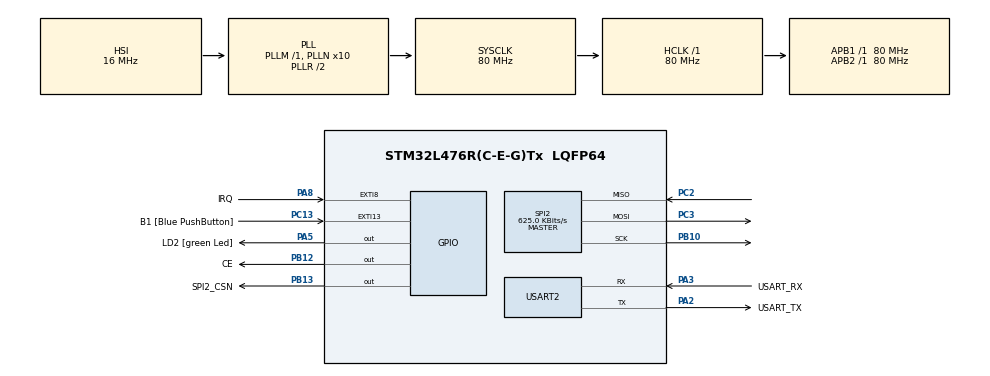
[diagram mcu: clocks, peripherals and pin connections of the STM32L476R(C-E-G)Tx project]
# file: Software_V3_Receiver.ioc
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Mcu.Family=STM32L4
Mcu.Name=STM32L476R(C-E-G)Tx
Mcu.Package=LQFP64
NVIC.EXTI9_5_IRQn=true\:0\:0\:false\:false\:true\:true\:true\:true
NVIC.PriorityGroup=NVIC_PRIORITYGROUP_4
PA13\ (JTMS-SWDIO).GPIO_Label=TMS
PA13\ (JTMS-SWDIO).Mode=Serial_Wire
PA13\ (JTMS-SWDIO).Signal=SYS_JTMS-SWDIO
PA14\ (JTCK-SWCLK).GPIO_Label=TCK
PA14\ (JTCK-SWCLK).Mode=Serial_Wire
PA14\ (JTCK-SWCLK).Signal=SYS_JTCK-SWCLK
PA2.GPIO_Label=USART_TX
PA2.GPIO_Mode=GPIO_MODE_AF_PP
PA2.GPIO_PuPd=GPIO_NOPULL
PA2.GPIO_Speed=GPIO_SPEED_FREQ_VERY_HIGH
PA2.Mode=Asynchronous
PA2.Signal=USART2_TX
PA3.GPIO_Label=USART_RX
PA3.GPIO_Mode=GPIO_MODE_AF_PP
PA3.GPIO_PuPd=GPIO_NOPULL
PA3.GPIO_Speed=GPIO_SPEED_FREQ_VERY_HIGH
PA3.Mode=Asynchronous
PA3.Signal=USART2_RX
PA5.GPIO_Label=LD2 [green Led]
PA5.GPIO_ModeDefaultOutputPP=GPIO_MODE_OUTPUT_PP
PA5.GPIO_PuPd=GPIO_NOPULL
PA5.GPIO_Speed=GPIO_SPEED_FREQ_LOW
PA5.Signal=GPIO_Output
PA8.GPIO_Label=IRQ
PA8.GPIO_ModeDefaultEXTI=GPIO_MODE_IT_FALLING
PA8.Signal=GPXTI8
PB10.Mode=Full_Duplex_Master
PB10.Signal=SPI2_SCK
PB12.GPIO_Label=CE
PB12.GPIO_Speed=GPIO_SPEED_FREQ_HIGH
PB12.Signal=GPIO_Output
PB13.GPIO_Label=SPI2_CSN
PB13.GPIO_Speed=GPIO_SPEED_FREQ_HIGH
PB13.PinState=GPIO_PIN_SET
PB13.Signal=GPIO_Output
PB3\ (JTDO-TRACESWO).GPIO_Label=SWO
PB3\ (JTDO-TRACESWO).Signal=SYS_JTDO-SWO
PC13.GPIO_Label=B1 [Blue PushButton]
PC13.GPIO_ModeDefaultEXTI=GPIO_MODE_IT_FALLING
PC13.GPIO_PuPd=GPIO_NOPULL
PC13.Signal=GPXTI13
PC14-OSC32_IN\ (PC14).Mode=LSE-External-Oscillator
PC14-OSC32_IN\ (PC14).Signal=RCC_OSC32_IN
PC15-OSC32_OUT\ (PC15).Mode=LSE-External-Oscillator
PC15-OSC32_OUT\ (PC15).Signal=RCC_OSC32_OUT
PC2.Mode=Full_Duplex_Master
PC2.Signal=SPI2_MISO
PC3.Mode=Full_Duplex_Master
PC3.Signal=SPI2_MOSI
PH0-OSC_IN\ (PH0).Signal=RCC_OSC_IN
PH1-OSC_OUT\ (PH1).Signal=RCC_OSC_OUT
ProjectManager.HeapSize=0x200
ProjectManager.StackSize=0x400
ProjectManager.TargetToolchain=STM32CubeIDE
RCC.ADCFreq_Value=64000000
RCC.AHBFreq_Value=80000000
RCC.APB1Freq_Value=80000000
RCC.APB1TimFreq_Value=80000000
RCC.APB2Freq_Value=80000000
RCC.APB2TimFreq_Value=80000000
RCC.CortexFreq_Value=80000000
RCC.HCLKFreq_Value=80000000
RCC.HSE_VALUE=8000000
RCC.HSI_VALUE=16000000
RCC.MSI_VALUE=4000000
RCC.PLLN=10
RCC.PLLSourceVirtual=RCC_PLLSOURCE_HSI
RCC.PREFETCH_ENABLE=1
RCC.SYSCLKFreq_VALUE=80000000
RCC.SYSCLKSource=RCC_SYSCLKSOURCE_PLLCLK
RCC.USBFreq_Value=64000000
RCC.VCOOutputFreq_Value=160000000
SPI2.BaudRatePrescaler=SPI_BAUDRATEPRESCALER_128
SPI2.CalculateBaudRate=625.0 KBits/s
SPI2.DataSize=SPI_DATASIZE_8BIT
SPI2.Direction=SPI_DIRECTION_2LINES
SPI2.Mode=SPI_MODE_MASTER
SPI2.VirtualType=VM_MASTER
USART2.VirtualMode-Asynchronous=VM_ASYNC
board=NUCLEO-L476RG

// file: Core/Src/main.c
/* USER CODE BEGIN Header */
/**
  ******************************************************************************
  * @file           : main.c
  * @brief          : Main program body
  ******************************************************************************
  * @attention
  *
  * Copyright (c) 2025 STMicroelectronics.
  * All rights reserved.
  *
  * This software is licensed under terms that can be found in the LICENSE file
  * in the root directory of this software component.
  * If no LICENSE file comes with this software, it is provided AS-IS.
  *
  ******************************************************************************
  */
/* USER CODE END Header */
#include "main.h"

/* USER CODE BEGIN Includes */
#include "nrf24l01p.h"
/* USER CODE END Includes */

/* USER CODE BEGIN PD */

//#define TRANSMITTER
#define RECEIVER

/* USER CODE END PD */

SPI_HandleTypeDef hspi2;

UART_HandleTypeDef huart2;

/* USER CODE BEGIN PV */

uint8_t rx_data[NRF24L01P_PAYLOAD_LENGTH] = {0};
uint8_t tx_data[NRF24L01P_PAYLOAD_LENGTH] = {0, 1, 2, 3, 4, 5, 6, 7};

/* USER CODE END PV */

void SystemClock_Config(void);
static void MX_GPIO_Init(void);
static void MX_USART2_UART_Init(void);
static void MX_SPI2_Init(void);
/* USER CODE BEGIN PFP */

void HAL_GPIO_EXTI_Callback(uint16_t GPIO_Pin);

/* USER CODE END PFP */

int main(void)
{

  /* MCU Configuration--------------------------------------------------------*/

  /* Reset of all peripherals, Initializes the Flash interface and the Systick. */
  HAL_Init();

  /* Configure the system clock */
  SystemClock_Config();

  /* Initialize all configured peripherals */
  MX_GPIO_Init();
  MX_USART2_UART_Init();
  MX_SPI2_Init();
  /* USER CODE BEGIN 2 */
#ifdef RECEIVER
  	nrf24l01p_rx_init(2500, _1Mbps);
#endif

 #ifdef TRANSMITTER
	nrf24l01p_tx_init(2500, _1Mbps);
 #endif
  /* USER CODE END 2 */

  /* Infinite loop */
  while (1)
  {

    /* USER CODE BEGIN 3 */

#ifdef RECEIVER
	  // Nothing to do
#endif

#ifdef TRANSMITTER

	  for(int i= 0; i < 8; i++)
	  {
		  tx_data[i]++;
	  }

	  nrf24l01p_tx_transmit(tx_data);
#endif

	  HAL_Delay(100);

  }
  /* USER CODE END 3 */
}

void SystemClock_Config(void)
{
  RCC_OscInitTypeDef RCC_OscInitStruct = {0};
  RCC_ClkInitTypeDef RCC_ClkInitStruct = {0};

  /** Configure the main internal regulator output voltage
  */
  if (HAL_PWREx_ControlVoltageScaling(PWR_REGULATOR_VOLTAGE_SCALE1) != HAL_OK)
  {
    Error_Handler();
  }

  /** Initializes the RCC Oscillators according to the specified parameters
  * in the RCC_OscInitTypeDef structure.
  */
  RCC_OscInitStruct.OscillatorType = RCC_OSCILLATORTYPE_HSI;
  RCC_OscInitStruct.HSIState = RCC_HSI_ON;
  RCC_OscInitStruct.HSICalibrationValue = RCC_HSICALIBRATION_DEFAULT;
  RCC_OscInitStruct.PLL.PLLState = RCC_PLL_ON;
  RCC_OscInitStruct.PLL.PLLSource = RCC_PLLSOURCE_HSI;
  RCC_OscInitStruct.PLL.PLLM = 1;
  RCC_OscInitStruct.PLL.PLLN = 10;
  RCC_OscInitStruct.PLL.PLLP = RCC_PLLP_DIV7;
  RCC_OscInitStruct.PLL.PLLQ = RCC_PLLQ_DIV2;
  RCC_OscInitStruct.PLL.PLLR = RCC_PLLR_DIV2;
  if (HAL_RCC_OscConfig(&RCC_OscInitStruct) != HAL_OK)
  {
    Error_Handler();
  }

  /** Initializes the CPU, AHB and APB buses clocks
  */
  RCC_ClkInitStruct.ClockType = RCC_CLOCKTYPE_HCLK|RCC_CLOCKTYPE_SYSCLK
                              |RCC_CLOCKTYPE_PCLK1|RCC_CLOCKTYPE_PCLK2;
  RCC_ClkInitStruct.SYSCLKSource = RCC_SYSCLKSOURCE_PLLCLK;
  RCC_ClkInitStruct.AHBCLKDivider = RCC_SYSCLK_DIV1;
  RCC_ClkInitStruct.APB1CLKDivider = RCC_HCLK_DIV1;
  RCC_ClkInitStruct.APB2CLKDivider = RCC_HCLK_DIV1;

  if (HAL_RCC_ClockConfig(&RCC_ClkInitStruct, FLASH_LATENCY_4) != HAL_OK)
  {
    Error_Handler();
  }
}

static void MX_SPI2_Init(void)
{

  /* SPI2 parameter configuration*/
  hspi2.Instance = SPI2;
  hspi2.Init.Mode = SPI_MODE_MASTER;
  hspi2.Init.Direction = SPI_DIRECTION_2LINES;
  hspi2.Init.DataSize = SPI_DATASIZE_8BIT;
  hspi2.Init.CLKPolarity = SPI_POLARITY_LOW;
  hspi2.Init.CLKPhase = SPI_PHASE_1EDGE;
  hspi2.Init.NSS = SPI_NSS_SOFT;
  hspi2.Init.BaudRatePrescaler = SPI_BAUDRATEPRESCALER_128;
  hspi2.Init.FirstBit = SPI_FIRSTBIT_MSB;
  hspi2.Init.TIMode = SPI_TIMODE_DISABLE;
  hspi2.Init.CRCCalculation = SPI_CRCCALCULATION_DISABLE;
  hspi2.Init.CRCPolynomial = 7;
  hspi2.Init.CRCLength = SPI_CRC_LENGTH_DATASIZE;
  hspi2.Init.NSSPMode = SPI_NSS_PULSE_ENABLE;
  if (HAL_SPI_Init(&hspi2) != HAL_OK)
  {
    Error_Handler();
  }

}

static void MX_USART2_UART_Init(void)
{

  huart2.Instance = USART2;
  huart2.Init.BaudRate = 115200;
  huart2.Init.WordLength = UART_WORDLENGTH_8B;
  huart2.Init.StopBits = UART_STOPBITS_1;
  huart2.Init.Parity = UART_PARITY_NONE;
  huart2.Init.Mode = UART_MODE_TX_RX;
  huart2.Init.HwFlowCtl = UART_HWCONTROL_NONE;
  huart2.Init.OverSampling = UART_OVERSAMPLING_16;
  huart2.Init.OneBitSampling = UART_ONE_BIT_SAMPLE_DISABLE;
  huart2.AdvancedInit.AdvFeatureInit = UART_ADVFEATURE_NO_INIT;
  if (HAL_UART_Init(&huart2) != HAL_OK)
  {
    Error_Handler();
  }

}

static void MX_GPIO_Init(void)
{
  GPIO_InitTypeDef GPIO_InitStruct = {0};

  /* GPIO Ports Clock Enable */
  __HAL_RCC_GPIOC_CLK_ENABLE();
  __HAL_RCC_GPIOH_CLK_ENABLE();
  __HAL_RCC_GPIOA_CLK_ENABLE();
  __HAL_RCC_GPIOB_CLK_ENABLE();

  /*Configure GPIO pin Output Level */
  HAL_GPIO_WritePin(LD2_GPIO_Port, LD2_Pin, GPIO_PIN_RESET);

  /*Configure GPIO pin Output Level */
  HAL_GPIO_WritePin(CE_GPIO_Port, CE_Pin, GPIO_PIN_RESET);

  /*Configure GPIO pin Output Level */
  HAL_GPIO_WritePin(SPI2_CSN_GPIO_Port, SPI2_CSN_Pin, GPIO_PIN_SET);

  /*Configure GPIO pin : B1_Pin */
  GPIO_InitStruct.Pin = B1_Pin;
  GPIO_InitStruct.Mode = GPIO_MODE_IT_FALLING;
  GPIO_InitStruct.Pull = GPIO_NOPULL;
  HAL_GPIO_Init(B1_GPIO_Port, &GPIO_InitStruct);

  /*Configure GPIO pin : LD2_Pin */
  GPIO_InitStruct.Pin = LD2_Pin;
  GPIO_InitStruct.Mode = GPIO_MODE_OUTPUT_PP;
  GPIO_InitStruct.Pull = GPIO_NOPULL;
  GPIO_InitStruct.Speed = GPIO_SPEED_FREQ_LOW;
  HAL_GPIO_Init(LD2_GPIO_Port, &GPIO_InitStruct);

  /*Configure GPIO pins : CE_Pin SPI2_CSN_Pin */
  GPIO_InitStruct.Pin = CE_Pin|SPI2_CSN_Pin;
  GPIO_InitStruct.Mode = GPIO_MODE_OUTPUT_PP;
  GPIO_InitStruct.Pull = GPIO_NOPULL;
  GPIO_InitStruct.Speed = GPIO_SPEED_FREQ_HIGH;
  HAL_GPIO_Init(GPIOB, &GPIO_InitStruct);

  /*Configure GPIO pin : IRQ_Pin */
  GPIO_InitStruct.Pin = IRQ_Pin;
  GPIO_InitStruct.Mode = GPIO_MODE_IT_FALLING;
  GPIO_InitStruct.Pull = GPIO_NOPULL;
  HAL_GPIO_Init(IRQ_GPIO_Port, &GPIO_InitStruct);

  /* EXTI interrupt init*/
  HAL_NVIC_SetPriority(EXTI9_5_IRQn, 0, 0);
  HAL_NVIC_EnableIRQ(EXTI9_5_IRQn);

}

/* USER CODE BEGIN 4 */

void HAL_GPIO_EXTI_Callback(uint16_t GPIO_Pin)
{
	if(GPIO_Pin == NRF24L01P_IRQ_PIN_NUMBER)
	{
#ifdef RECEIVER
	    nrf24l01p_rx_receive(rx_data);
#endif

#ifdef TRANSMITTER
		nrf24l01p_tx_irq();
#endif
	}

}

/* USER CODE END 4 */

void Error_Handler(void)
{
  __disable_irq();
  while (1)
  {
  }
}
